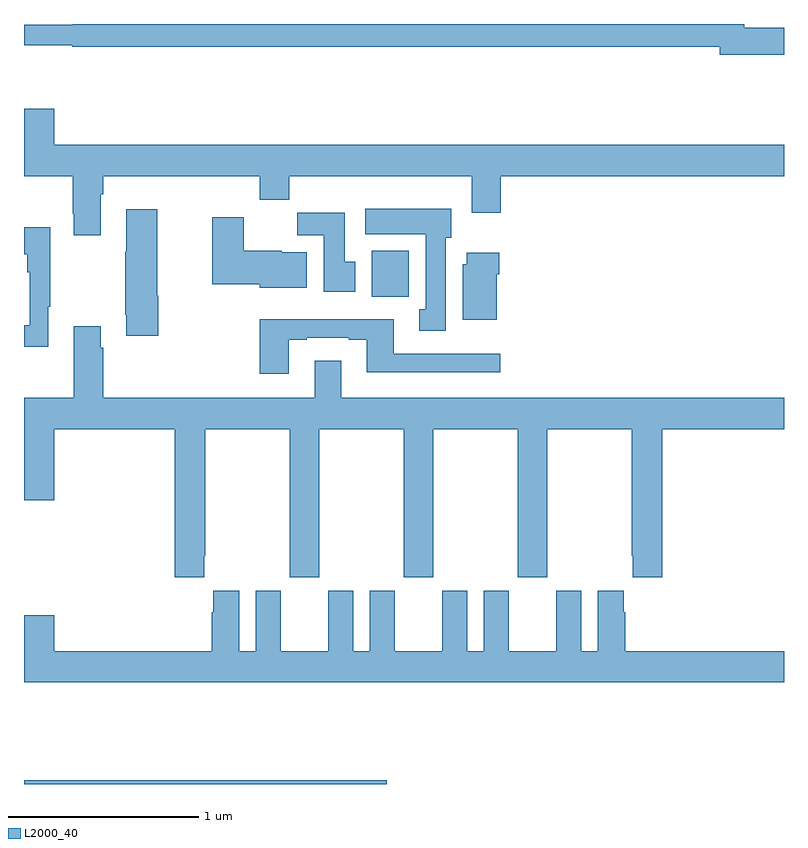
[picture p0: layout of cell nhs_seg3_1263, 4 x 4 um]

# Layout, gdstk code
import gdstk
lib = gdstk.Library(unit=1e-6, precision=1e-09)
def R(c, l, rs):  # rectangles x0, y0, x1, y1
    for r in rs: c.add(gdstk.rectangle(r[:2], r[2:], *l))
def P(c, l, *ps):  # polygons
    for p in ps: c.add(gdstk.Polygon(p, *l))
L2000_40 = (2000, 40)

nhs_seg3_1263 = lib.new_cell('nhs_seg3_1263')
R(nhs_seg3_1263, L2000_40, [(177,680.4,178.91,680.42), (178.829,682.964,179.026,683.206)])
P(nhs_seg3_1263, L2000_40, [(181,684.38),(180.79,684.38),(180.79,684.4),(177.256,684.4),(177.256,684.397),(177,684.397),(177,684.288),(177.254,684.288),(177.254,684.28),(180.662,684.28),(180.662,684.238),(181,684.238)],
  [(177.403,683.504),(177.416,683.504),(177.416,683.6),(178.241,683.6),(178.241,683.476),(178.397,683.476),(178.397,683.6),(179.357,683.6),(179.357,683.406),(179.51,683.406),(179.51,683.6),(181,683.6),(181,683.764),(177.16,683.764),(177.16,683.953),(177,683.953),(177,683.6),(177.256,683.6),(177.256,683.401),(177.263,683.401),(177.263,683.289),(177.403,683.289)],
  [(179.221,683.274),(179.248,683.274),(179.248,683.428),(178.797,683.428),(178.797,683.294),(179.114,683.294),(179.114,682.898),(179.081,682.898),(179.081,682.785),(179.221,682.785)],
  [(177.707,682.97),(177.702,682.97),(177.702,683.425),(177.539,683.425),(177.539,683.201),(177.532,683.201),(177.532,682.87),(177.539,682.87),(177.539,682.758),(177.707,682.758)],
  [(178.744,683.148),(178.687,683.148),(178.687,683.407),(178.438,683.407),(178.438,683.288),(178.577,683.288),(178.577,682.992),(178.744,682.992)],
  [(178.489,683.2),(178.356,683.2),(178.356,683.206),(178.156,683.206),(178.156,683.383),(177.991,683.383),(177.991,683.03),(178.242,683.03),(178.242,683.012),(178.489,683.012)],
  [(177.127,682.913),(177.139,682.913),(177.139,683.329),(177,683.329),(177,683.189),(177.018,683.189),(177.018,683.093),(177.03,683.093),(177.03,682.814),(177,682.814),(177,682.701),(177.127,682.701)],
  [(179.488,683.084),(179.501,683.084),(179.501,683.197),(179.33,683.197),(179.33,683.136),(179.309,683.136),(179.309,682.844),(179.488,682.844)],
  [(178.393,682.737),(178.489,682.737),(178.489,682.749),(178.709,682.749),(178.709,682.737),(178.805,682.737),(178.805,682.568),(179.506,682.568),(179.506,682.665),(178.945,682.665),(178.945,682.846),(178.241,682.846),(178.241,682.56),(178.393,682.56)],
  [(177.949,681.601),(177.954,681.601),(177.954,682.268),(178.399,682.268),(178.399,681.489),(178.554,681.489),(178.554,682.268),(178.999,682.268),(178.999,681.489),(179.154,681.489),(179.154,682.268),(179.599,682.268),(179.599,681.489),(179.754,681.489),(179.754,682.268),(180.199,682.268),(180.199,681.601),(180.203,681.601),(180.203,681.489),(180.359,681.489),(180.359,682.268),(181,682.268),(181,682.432),(178.669,682.432),(178.669,682.627),(178.529,682.627),(178.529,682.432),(177.416,682.432),(177.416,682.697),(177.403,682.697),(177.403,682.81),(177.263,682.81),(177.263,682.432),(177,682.432),(177,681.894),(177.16,681.894),(177.16,682.268),(177.794,682.268),(177.794,681.489),(177.949,681.489)],
  [(181,681.1),(180.164,681.1),(180.164,681.305),(180.157,681.305),(180.157,681.418),(180.02,681.418),(180.02,681.1),(179.932,681.1),(179.932,681.418),(179.801,681.418),(179.801,681.1),(179.551,681.1),(179.551,681.418),(179.42,681.418),(179.42,681.1),(179.332,681.1),(179.332,681.418),(179.201,681.418),(179.201,681.1),(178.951,681.1),(178.951,681.418),(178.82,681.418),(178.82,681.1),(178.732,681.1),(178.732,681.418),(178.601,681.418),(178.601,681.1),(178.351,681.1),(178.351,681.418),(178.22,681.418),(178.22,681.1),(178.132,681.1),(178.132,681.418),(177.995,681.418),(177.995,681.305),(177.989,681.305),(177.989,681.1),(177.16,681.1),(177.16,681.289),(177,681.289),(177,680.936),(181,680.936)])

lib.write_gds('nhs_seg3_1263.gds')
